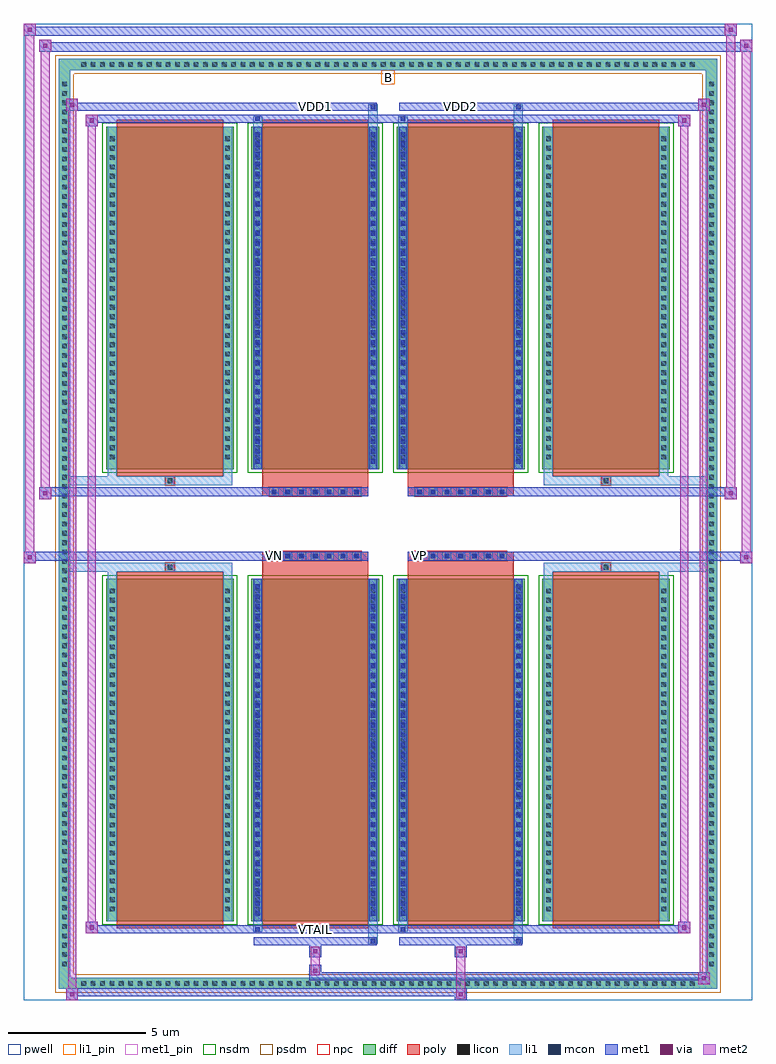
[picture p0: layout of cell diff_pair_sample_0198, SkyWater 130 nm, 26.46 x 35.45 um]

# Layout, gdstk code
import gdstk
lib = gdstk.Library(unit=1e-6, precision=5e-09)
def R(c, l, rs):  # rectangles x0, y0, x1, y1
    for r in rs: c.add(gdstk.rectangle(r[:2], r[2:], *l))
def A(c, l, x, y, w, h, nx, ny, dx, dy):  # array of equal rectangles
    R(c, l, [(x+i*dx, y+j*dy, x+i*dx+w, y+j*dy+h) for i in range(nx) for j in range(ny)])
def P(c, l, *ps):  # polygons
    for p in ps: c.add(gdstk.Polygon(p, *l))
pwell = (64, 44)
diff = (65, 20)
poly = (66, 20)
licon = (66, 44)
li1_pin = (67, 16)
li1 = (67, 20)
mcon = (67, 44)
met1_pin = (68, 16)
met1 = (68, 20)
via = (68, 44)
met2 = (69, 20)
nsdm = (93, 44)
psdm = (94, 20)
npc = (95, 20)

diff_pair_sample_0198 = lib.new_cell('diff_pair_sample_0198')
R(diff_pair_sample_0198, pwell, [(-13.23,-17.29,13.23,18.16), (-10.55,-15.48,-0.01,-0.8), (0.01,-15.48,10.55,-0.8), (-10.55,0.8,-0.01,15.48), (0.01,0.8,10.55,15.48)])
A(diff_pair_sample_0198, diff, -11.255, -16.89, 0.41, 0.41, 66, 2, 0.34, 33.37)
A(diff_pair_sample_0198, diff, -11.96, -16.185, 0.41, 0.41, 1, 95, 0, 0.34)
A(diff_pair_sample_0198, diff, 11.55, -16.185, 0.41, 0.41, 1, 95, 0, 0.34)
A(diff_pair_sample_0198, diff, -10.24, -14.435, 4.64, 12.45, 4, 2, 5.28, 16.42)
R(diff_pair_sample_0198, diff, [(-11.255,-16.89,11.255,-16.48), (-11.96,-16.185,-11.55,16.185), (11.55,-16.185,11.96,16.185), (-11.255,16.48,11.255,16.89)])
P(diff_pair_sample_0198, diff, [(11.96,16.89),(-11.96,16.89),(-11.96,-16.48),(-11.55,-16.48),(-11.55,16.48),(11.55,16.48),(11.55,-16.48),(-11.55,-16.48),(-11.96,-16.48),(-11.96,-16.89),(11.96,-16.89)])
A(diff_pair_sample_0198, poly, -9.85, -14.685, 3.86, 12.95, 4, 2, 5.28, 16.42)
A(diff_pair_sample_0198, poly, -4.305, -1.33, 0.33, 0.33, 7, 2, 0.5, 2.33)
A(diff_pair_sample_0198, poly, 0.975, -1.33, 0.33, 0.33, 7, 2, 0.5, 2.33)
R(diff_pair_sample_0198, poly, [(-8.085,-1.735,-7.755,-1.405), (-8.085,-1.735,-7.755,-1.405), (-4.57,-1.735,-0.71,-1.33), (0.71,-1.735,4.57,-1.33), (7.755,-1.735,8.085,-1.405), (7.755,-1.735,8.085,-1.405), (-4.57,-1.33,-0.71,-1), (0.71,-1.33,4.57,-1), (-4.57,1,-0.71,1.33), (0.71,1,4.57,1.33), (-4.57,1.33,-0.71,1.735), (0.71,1.33,4.57,1.735), (-8.085,1.405,-7.755,1.735), (-8.085,1.405,-7.755,1.735), (7.755,1.405,8.085,1.735), (7.755,1.405,8.085,1.735)])
A(diff_pair_sample_0198, licon, -11.135, -16.77, 0.17, 0.17, 66, 2, 0.34, 33.37)
A(diff_pair_sample_0198, licon, -11.84, -16.065, 0.17, 0.17, 1, 95, 0, 0.34)
A(diff_pair_sample_0198, licon, 11.67, -16.065, 0.17, 0.17, 1, 95, 0, 0.34)
A(diff_pair_sample_0198, licon, -10.1, -14.075, 0.17, 0.17, 1, 35, 0, 0.34)
A(diff_pair_sample_0198, licon, -5.91, -14.075, 0.17, 0.17, 1, 35, 0, 0.34)
A(diff_pair_sample_0198, licon, -4.82, -14.075, 0.17, 0.17, 1, 35, 0, 0.34)
A(diff_pair_sample_0198, licon, -0.63, -14.075, 0.17, 0.17, 1, 35, 0, 0.34)
A(diff_pair_sample_0198, licon, 0.46, -14.075, 0.17, 0.17, 1, 35, 0, 0.34)
A(diff_pair_sample_0198, licon, 4.65, -14.075, 0.17, 0.17, 1, 35, 0, 0.34)
A(diff_pair_sample_0198, licon, 5.74, -14.075, 0.17, 0.17, 1, 35, 0, 0.34)
A(diff_pair_sample_0198, licon, 9.93, -14.075, 0.17, 0.17, 1, 35, 0, 0.34)
A(diff_pair_sample_0198, licon, -4.225, -1.25, 0.17, 0.17, 7, 2, 0.5, 2.33)
A(diff_pair_sample_0198, licon, 1.055, -1.25, 0.17, 0.17, 7, 2, 0.5, 2.33)
A(diff_pair_sample_0198, licon, -10.1, 2.345, 0.17, 0.17, 1, 35, 0, 0.34)
A(diff_pair_sample_0198, licon, -5.91, 2.345, 0.17, 0.17, 1, 35, 0, 0.34)
A(diff_pair_sample_0198, licon, -4.82, 2.345, 0.17, 0.17, 1, 35, 0, 0.34)
A(diff_pair_sample_0198, licon, -0.63, 2.345, 0.17, 0.17, 1, 35, 0, 0.34)
A(diff_pair_sample_0198, licon, 0.46, 2.345, 0.17, 0.17, 1, 35, 0, 0.34)
A(diff_pair_sample_0198, licon, 4.65, 2.345, 0.17, 0.17, 1, 35, 0, 0.34)
A(diff_pair_sample_0198, licon, 5.74, 2.345, 0.17, 0.17, 1, 35, 0, 0.34)
A(diff_pair_sample_0198, licon, 9.93, 2.345, 0.17, 0.17, 1, 35, 0, 0.34)
R(diff_pair_sample_0198, licon, [(-8.005,-1.655,-7.835,-1.485), (7.835,-1.655,8.005,-1.485), (-8.005,1.485,-7.835,1.655), (7.835,1.485,8.005,1.655)])
R(diff_pair_sample_0198, li1_pin, [(-0.25,15.98,0.25,16.48)])
A(diff_pair_sample_0198, li1, -11.215, -16.85, 0.33, 0.33, 66, 2, 0.34, 33.37)
A(diff_pair_sample_0198, li1, -11.92, -16.145, 0.33, 0.33, 1, 95, 0, 0.34)
A(diff_pair_sample_0198, li1, 11.59, -16.145, 0.33, 0.33, 1, 95, 0, 0.34)
A(diff_pair_sample_0198, li1, -4.82, -14.235, 0.17, 0.17, 1, 34, 0, 0.36)
A(diff_pair_sample_0198, li1, -0.63, -14.235, 0.17, 0.17, 1, 34, 0, 0.36)
A(diff_pair_sample_0198, li1, 0.46, -14.235, 0.17, 0.17, 1, 34, 0, 0.36)
A(diff_pair_sample_0198, li1, 4.65, -14.235, 0.17, 0.17, 1, 34, 0, 0.36)
A(diff_pair_sample_0198, li1, -10.18, -14.155, 0.33, 0.33, 1, 35, 0, 0.34)
A(diff_pair_sample_0198, li1, -5.99, -14.155, 0.33, 0.33, 1, 35, 0, 0.34)
A(diff_pair_sample_0198, li1, -4.9, -14.155, 0.33, 0.33, 1, 35, 0, 0.34)
A(diff_pair_sample_0198, li1, -0.71, -14.155, 0.33, 0.33, 1, 35, 0, 0.34)
A(diff_pair_sample_0198, li1, 0.38, -14.155, 0.33, 0.33, 1, 35, 0, 0.34)
A(diff_pair_sample_0198, li1, 4.57, -14.155, 0.33, 0.33, 1, 35, 0, 0.34)
A(diff_pair_sample_0198, li1, 5.66, -14.155, 0.33, 0.33, 1, 35, 0, 0.34)
A(diff_pair_sample_0198, li1, 9.85, -14.155, 0.33, 0.33, 1, 35, 0, 0.34)
A(diff_pair_sample_0198, li1, -4.305, -1.33, 0.33, 0.33, 7, 2, 0.5, 2.33)
A(diff_pair_sample_0198, li1, 0.975, -1.33, 0.33, 0.33, 7, 2, 0.5, 2.33)
A(diff_pair_sample_0198, li1, -4.82, 2.185, 0.17, 0.17, 1, 34, 0, 0.36)
A(diff_pair_sample_0198, li1, -0.63, 2.185, 0.17, 0.17, 1, 34, 0, 0.36)
A(diff_pair_sample_0198, li1, 0.46, 2.185, 0.17, 0.17, 1, 34, 0, 0.36)
A(diff_pair_sample_0198, li1, 4.65, 2.185, 0.17, 0.17, 1, 34, 0, 0.36)
A(diff_pair_sample_0198, li1, -10.18, 2.265, 0.33, 0.33, 1, 35, 0, 0.34)
A(diff_pair_sample_0198, li1, -5.99, 2.265, 0.33, 0.33, 1, 35, 0, 0.34)
A(diff_pair_sample_0198, li1, -4.9, 2.265, 0.33, 0.33, 1, 35, 0, 0.34)
A(diff_pair_sample_0198, li1, -0.71, 2.265, 0.33, 0.33, 1, 35, 0, 0.34)
A(diff_pair_sample_0198, li1, 0.38, 2.265, 0.33, 0.33, 1, 35, 0, 0.34)
A(diff_pair_sample_0198, li1, 4.57, 2.265, 0.33, 0.33, 1, 35, 0, 0.34)
A(diff_pair_sample_0198, li1, 5.66, 2.265, 0.33, 0.33, 1, 35, 0, 0.34)
A(diff_pair_sample_0198, li1, 9.85, 2.265, 0.33, 0.33, 1, 35, 0, 0.34)
R(diff_pair_sample_0198, li1, [(-11.96,-16.89,-11.55,-16.48), (-11.96,-16.89,-11.55,-16.48), (-11.55,-16.89,11.55,-16.48), (11.55,-16.89,11.96,-16.48), (11.55,-16.89,11.96,-16.48), (-11.96,-16.48,-11.55,16.48), (11.55,-16.48,11.96,16.48), (-0.71,-15.24,-0.38,-14.435), (-0.63,-15.24,-0.46,-15.07), (4.57,-15.24,4.9,-14.435), (4.65,-15.24,4.82,-15.07), (-4.9,-14.81,-4.57,-14.435), (-4.82,-14.81,-4.65,-14.64), (0.38,-14.81,0.71,-14.435), (0.46,-14.81,0.63,-14.64), (-10.18,-14.435,-9.85,-1.985), (-5.99,-14.435,-5.66,-1.985), (-4.9,-14.435,-4.57,-1.985), (-0.71,-14.435,-0.38,-1.985), (0.38,-14.435,0.71,-1.985), (4.57,-14.435,4.9,-1.985), (5.66,-14.435,5.99,-1.985), (9.85,-14.435,10.18,-1.985), (-4.82,-14.235,-4.65,-2.185), (-0.63,-14.235,-0.46,-2.185), (0.46,-14.235,0.63,-2.185), (4.65,-14.235,4.82,-2.185), (-10.18,-1.985,-9.85,-1.405), (-5.99,-1.985,-5.66,-1.405), (5.66,-1.985,5.99,-1.405), (9.85,-1.985,10.18,-1.405), (-11.96,-1.735,-8.085,-1.405), (-10.18,-1.735,-8.085,-1.405), (-8.085,-1.735,-7.755,-1.405), (-7.755,-1.735,-5.66,-1.405), (5.66,-1.735,7.755,-1.405), (7.755,-1.735,8.085,-1.405), (7.755,-1.735,11.96,-1.405), (8.085,-1.735,10.18,-1.405), (-11.96,1.405,-8.085,1.735), (-10.18,1.405,-8.085,1.735), (-10.18,1.405,-9.85,1.985), (-8.085,1.405,-7.755,1.735), (-7.755,1.405,-5.66,1.735), (-5.99,1.405,-5.66,1.985), (5.66,1.405,7.755,1.735), (5.66,1.405,5.99,1.985), (7.755,1.405,8.085,1.735), (7.755,1.405,11.96,1.735), (8.085,1.405,10.18,1.735), (9.85,1.405,10.18,1.985), (-10.18,1.985,-9.85,14.435), (-5.99,1.985,-5.66,14.435), (-4.9,1.985,-4.57,14.435), (-0.71,1.985,-0.38,14.435), (0.38,1.985,0.71,14.435), (4.57,1.985,4.9,14.435), (5.66,1.985,5.99,14.435), (9.85,1.985,10.18,14.435), (-4.82,2.185,-4.65,14.235), (-0.63,2.185,-0.46,14.235), (0.46,2.185,0.63,14.235), (4.65,2.185,4.82,14.235), (-4.9,14.435,-4.57,14.81), (-0.71,14.435,-0.38,15.24), (0.38,14.435,0.71,14.81), (4.57,14.435,4.9,15.24), (-4.82,14.64,-4.65,14.81), (0.46,14.64,0.63,14.81), (-0.63,15.07,-0.46,15.24), (4.65,15.07,4.82,15.24), (-11.96,16.48,-11.55,16.89), (-11.96,16.48,-11.55,16.89), (-11.55,16.48,11.55,16.89), (11.55,16.48,11.96,16.89), (11.55,16.48,11.96,16.89)])
A(diff_pair_sample_0198, mcon, -4.82, -14.235, 0.17, 0.17, 1, 34, 0, 0.36)
A(diff_pair_sample_0198, mcon, -0.63, -14.235, 0.17, 0.17, 1, 34, 0, 0.36)
A(diff_pair_sample_0198, mcon, 0.46, -14.235, 0.17, 0.17, 1, 34, 0, 0.36)
A(diff_pair_sample_0198, mcon, 4.65, -14.235, 0.17, 0.17, 1, 34, 0, 0.36)
A(diff_pair_sample_0198, mcon, -4.225, -1.25, 0.17, 0.17, 7, 2, 0.5, 2.33)
A(diff_pair_sample_0198, mcon, 1.055, -1.25, 0.17, 0.17, 7, 2, 0.5, 2.33)
A(diff_pair_sample_0198, mcon, -4.82, 2.185, 0.17, 0.17, 1, 34, 0, 0.36)
A(diff_pair_sample_0198, mcon, -0.63, 2.185, 0.17, 0.17, 1, 34, 0, 0.36)
A(diff_pair_sample_0198, mcon, 0.46, 2.185, 0.17, 0.17, 1, 34, 0, 0.36)
A(diff_pair_sample_0198, mcon, 4.65, 2.185, 0.17, 0.17, 1, 34, 0, 0.36)
R(diff_pair_sample_0198, mcon, [(-0.63,-15.24,-0.46,-15.07), (4.65,-15.24,4.82,-15.07), (-4.82,-14.81,-4.65,-14.64), (0.46,-14.81,0.63,-14.64), (-4.82,14.64,-4.65,14.81), (0.46,14.64,0.63,14.81), (-0.63,15.07,-0.46,15.24), (4.65,15.07,4.82,15.24)])
R(diff_pair_sample_0198, met1_pin, [(-2.775,-14.85,-2.505,-14.58), (-4.275,-1.29,-4.005,-1.02), (1.005,-1.29,1.275,-1.02), (-2.775,15.03,-2.505,15.3), (2.505,15.03,2.775,15.3)])
A(diff_pair_sample_0198, met1, -4.88, -14.295, 0.29, 0.29, 1, 34, 0, 0.36)
A(diff_pair_sample_0198, met1, -0.69, -14.295, 0.29, 0.29, 1, 34, 0, 0.36)
A(diff_pair_sample_0198, met1, 0.4, -14.295, 0.29, 0.29, 1, 34, 0, 0.36)
A(diff_pair_sample_0198, met1, 4.59, -14.295, 0.29, 0.29, 1, 34, 0, 0.36)
A(diff_pair_sample_0198, met1, -4.285, -1.31, 0.29, 0.29, 7, 2, 0.5, 2.33)
A(diff_pair_sample_0198, met1, 0.995, -1.31, 0.29, 0.29, 7, 2, 0.5, 2.33)
A(diff_pair_sample_0198, met1, -4.88, 2.125, 0.29, 0.29, 1, 34, 0, 0.36)
A(diff_pair_sample_0198, met1, -0.69, 2.125, 0.29, 0.29, 1, 34, 0, 0.36)
A(diff_pair_sample_0198, met1, 0.4, 2.125, 0.29, 0.29, 1, 34, 0, 0.36)
A(diff_pair_sample_0198, met1, 4.59, 2.125, 0.29, 0.29, 1, 34, 0, 0.36)
R(diff_pair_sample_0198, met1, [(-11.69,-17.29,-11.26,-16.86), (2.425,-17.29,2.855,-16.86), (-11.69,-17.15,2.855,-16.86), (11.26,-16.72,11.69,-16.29), (-2.855,-16.58,11.69,-16.29), (-2.855,-16.44,-2.425,-16.01), (-2.855,-15.73,-2.425,-15.3), (2.425,-15.73,2.855,-15.3), (-4.88,-15.3,-0.4,-15.01), (-0.69,-15.3,-0.4,-15.01), (0.4,-15.3,4.88,-15.01), (4.59,-15.3,4.88,-15.01), (-10.98,-14.87,-10.55,-14.44), (-10.98,-14.87,-4.88,-14.58), (-4.88,-14.87,-4.59,-14.58), (-4.88,-14.87,-0.4,-14.58), (-0.4,-14.87,0.4,-14.58), (0.4,-14.87,0.69,-14.58), (0.4,-14.87,4.88,-14.58), (4.88,-14.87,10.98,-14.58), (10.55,-14.87,10.98,-14.44), (-4.88,-14.435,-4.59,-1.985), (-0.69,-14.435,-0.4,-1.985), (0.4,-14.435,0.69,-1.985), (4.59,-14.435,4.88,-1.985), (-13.23,-1.43,-12.8,-1), (12.8,-1.43,13.23,-1), (-13.23,-1.33,-0.71,-1), (-4.57,-1.33,-0.71,-1), (0.71,-1.33,4.57,-1), (0.71,-1.33,13.23,-1), (-12.66,0.9,-12.23,1.33), (12.23,0.9,12.66,1.33), (-12.66,1,-4.57,1.33), (-4.57,1,-0.71,1.33), (0.71,1,4.57,1.33), (4.57,1,12.66,1.33), (-4.88,1.985,-4.59,14.435), (-0.69,1.985,-0.4,14.435), (0.4,1.985,0.69,14.435), (4.59,1.985,4.88,14.435), (-10.98,14.44,-10.55,14.87), (10.55,14.44,10.98,14.87), (-10.98,14.58,-4.88,14.87), (-4.88,14.58,-4.59,14.87), (-4.88,14.58,-0.4,14.87), (-0.4,14.58,0.4,14.87), (0.4,14.58,0.69,14.87), (0.4,14.58,4.88,14.87), (4.88,14.58,10.98,14.87), (-11.69,15.01,-11.26,15.44), (-11.69,15.01,-4.88,15.3), (-4.88,15.01,-0.4,15.3), (-0.69,15.01,-0.4,15.3), (0.4,15.01,4.88,15.3), (4.59,15.01,4.88,15.3), (4.88,15.01,11.69,15.3), (11.26,15.01,11.69,15.44), (-12.66,17.16,-12.23,17.59), (-12.66,17.16,-10.55,17.49), (-10.55,17.16,10.55,17.49), (10.55,17.16,13.23,17.49), (12.8,17.16,13.23,17.59), (-13.23,17.73,-12.8,18.16), (-13.23,17.73,-10.55,18.06), (-10.55,17.73,10.55,18.06), (10.55,17.73,12.66,18.06), (12.23,17.73,12.66,18.16)])
R(diff_pair_sample_0198, via, [(-11.55,-17.15,-11.4,-17), (2.565,-17.15,2.715,-17), (11.4,-16.58,11.55,-16.43), (-2.715,-16.3,-2.565,-16.15), (-2.715,-15.59,-2.565,-15.44), (2.565,-15.59,2.715,-15.44), (-10.84,-14.73,-10.69,-14.58), (10.69,-14.73,10.84,-14.58), (-13.09,-1.29,-12.94,-1.14), (12.94,-1.29,13.09,-1.14), (-12.52,1.04,-12.37,1.19), (12.37,1.04,12.52,1.19), (-10.84,14.58,-10.69,14.73), (10.69,14.58,10.84,14.73), (-11.55,15.15,-11.4,15.3), (11.4,15.15,11.55,15.3), (-12.52,17.3,-12.37,17.45), (12.94,17.3,13.09,17.45), (-13.09,17.87,-12.94,18.02), (12.37,17.87,12.52,18.02)])
R(diff_pair_sample_0198, met2, [(-11.69,-17.29,-11.26,-16.86), (-11.62,-17.29,-11.33,15.44), (-11.33,-17.29,-11.26,-16.86), (-11.64,-17.24,-11.31,-16.91), (2.475,-17.24,2.805,-16.91), (2.475,-16.91,2.805,-15.68), (11.26,-16.72,11.69,-16.29), (11.33,-16.72,11.62,15.44), (11.62,-16.72,11.69,-16.29), (11.31,-16.67,11.64,-16.34), (-2.805,-16.39,-2.475,-16.06), (-2.805,-16.06,-2.475,-15.68), (-2.805,-15.68,-2.475,-15.35), (2.475,-15.68,2.805,-15.35), (-10.98,-14.87,-10.55,-14.44), (-10.91,-14.87,-10.62,14.87), (-10.62,-14.87,-10.55,-14.44), (10.55,-14.87,10.98,-14.44), (10.62,-14.87,10.91,14.87), (10.91,-14.87,10.98,-14.44), (-10.93,-14.82,-10.6,-14.49), (10.6,-14.82,10.93,-14.49), (-13.23,-1.43,-12.8,-1), (-13.18,-1.43,-12.85,18.16), (-12.85,-1.43,-12.8,-1), (12.8,-1.43,13.23,-1), (12.85,-1.43,13.18,17.59), (13.18,-1.43,13.23,-1), (-13.18,-1.38,-12.85,-1.05), (12.85,-1.38,13.18,-1.05), (-12.66,0.9,-12.23,1.33), (-12.61,0.9,-12.28,17.59), (-12.28,0.9,-12.23,1.33), (12.23,0.9,12.66,1.33), (12.28,0.9,12.61,18.16), (12.61,0.9,12.66,1.33), (-12.61,0.95,-12.28,1.28), (12.28,0.95,12.61,1.28), (-10.98,14.44,-10.55,14.87), (-10.62,14.44,-10.55,14.87), (10.55,14.44,10.98,14.87), (10.91,14.44,10.98,14.87), (-10.93,14.49,-10.6,14.82), (10.6,14.49,10.93,14.82), (-11.69,15.01,-11.26,15.44), (-11.33,15.01,-11.26,15.44), (11.26,15.01,11.69,15.44), (11.62,15.01,11.69,15.44), (-11.64,15.06,-11.31,15.39), (11.31,15.06,11.64,15.39), (-12.66,17.16,-12.23,17.59), (-12.28,17.16,-12.23,17.59), (12.8,17.16,13.23,17.59), (13.18,17.16,13.23,17.59), (-12.61,17.21,-12.28,17.54), (12.85,17.21,13.18,17.54), (-13.23,17.73,-12.8,18.16), (-12.85,17.73,-12.8,18.16), (12.23,17.73,12.66,18.16), (12.61,17.73,12.66,18.16), (-13.18,17.78,-12.85,18.11), (12.28,17.78,12.61,18.11)])
A(diff_pair_sample_0198, nsdm, -10.37, -14.565, 4.9, 12.71, 4, 2, 5.28, 16.42)
P(diff_pair_sample_0198, psdm, [(12.09,17.02),(-12.09,17.02),(-12.09,-16.35),(-11.42,-16.35),(-11.42,16.35),(11.42,16.35),(11.42,-16.35),(-11.42,-16.35),(-12.09,-16.35),(-12.09,-17.02),(12.09,-17.02)])
A(diff_pair_sample_0198, npc, -4.325, -1.35, 0.37, 0.37, 7, 2, 0.5, 2.33)
A(diff_pair_sample_0198, npc, 0.955, -1.35, 0.37, 0.37, 7, 2, 0.5, 2.33)
R(diff_pair_sample_0198, npc, [(-8.105,-1.755,-7.735,-1.385), (7.735,-1.755,8.105,-1.385), (-4.325,-1.35,-3.455,-0.98), (-4.325,-1.35,-3.455,-0.98), (-3.825,-1.35,-2.955,-0.98), (-3.825,-1.35,-2.955,-0.98), (-3.325,-1.35,-2.455,-0.98), (-3.325,-1.35,-2.455,-0.98), (-2.825,-1.35,-1.955,-0.98), (-2.825,-1.35,-1.955,-0.98), (-2.325,-1.35,-1.455,-0.98), (-2.325,-1.35,-1.455,-0.98), (-1.825,-1.35,-0.955,-0.98), (-1.825,-1.35,-0.955,-0.98), (0.955,-1.35,1.825,-0.98), (0.955,-1.35,1.825,-0.98), (1.455,-1.35,2.325,-0.98), (1.455,-1.35,2.325,-0.98), (1.955,-1.35,2.825,-0.98), (1.955,-1.35,2.825,-0.98), (2.455,-1.35,3.325,-0.98), (2.455,-1.35,3.325,-0.98), (2.955,-1.35,3.825,-0.98), (2.955,-1.35,3.825,-0.98), (3.455,-1.35,4.325,-0.98), (3.455,-1.35,4.325,-0.98), (-4.325,0.98,-3.455,1.35), (-4.325,0.98,-3.455,1.35), (-3.825,0.98,-2.955,1.35), (-3.825,0.98,-2.955,1.35), (-3.325,0.98,-2.455,1.35), (-3.325,0.98,-2.455,1.35), (-2.825,0.98,-1.955,1.35), (-2.825,0.98,-1.955,1.35), (-2.325,0.98,-1.455,1.35), (-2.325,0.98,-1.455,1.35), (-1.825,0.98,-0.955,1.35), (-1.825,0.98,-0.955,1.35), (0.955,0.98,1.825,1.35), (0.955,0.98,1.825,1.35), (1.455,0.98,2.325,1.35), (1.455,0.98,2.325,1.35), (1.955,0.98,2.825,1.35), (1.955,0.98,2.825,1.35), (2.455,0.98,3.325,1.35), (2.455,0.98,3.325,1.35), (2.955,0.98,3.825,1.35), (2.955,0.98,3.825,1.35), (3.455,0.98,4.325,1.35), (3.455,0.98,4.325,1.35), (-8.105,1.385,-7.735,1.755), (7.735,1.385,8.105,1.755)])
diff_pair_sample_0198.add(gdstk.Label('VTAIL', (-2.64,-14.715), layer=68, texttype=5))
diff_pair_sample_0198.add(gdstk.Label('VN', (-4.14,-1.155), layer=68, texttype=5))
diff_pair_sample_0198.add(gdstk.Label('VP', (1.14,-1.155), layer=68, texttype=5))
diff_pair_sample_0198.add(gdstk.Label('B', (0,16.23), layer=67, texttype=5))
diff_pair_sample_0198.add(gdstk.Label('VDD2', (2.64,15.165), layer=68, texttype=5))
diff_pair_sample_0198.add(gdstk.Label('VDD1', (-2.64,15.165), layer=68, texttype=5))

lib.write_gds('diff_pair_sample_0198.gds')
